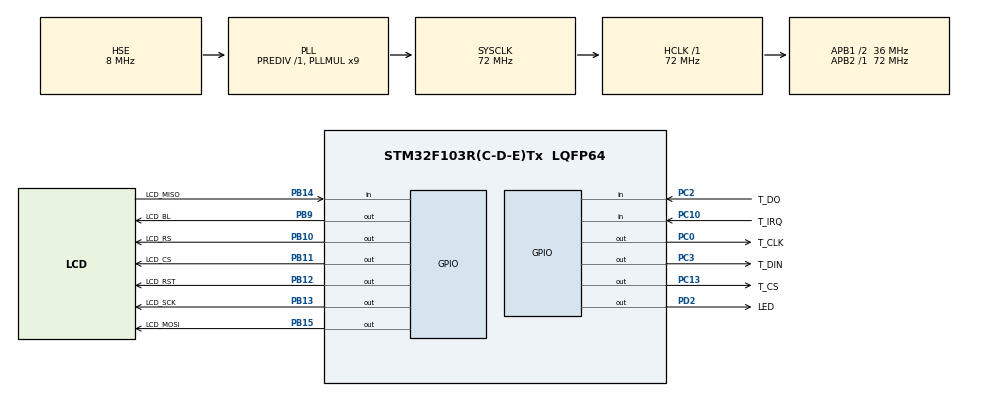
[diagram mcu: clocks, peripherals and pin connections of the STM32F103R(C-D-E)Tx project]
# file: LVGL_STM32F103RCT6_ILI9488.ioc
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Mcu.Family=STM32F1
Mcu.Name=STM32F103R(C-D-E)Tx
Mcu.Package=LQFP64
NVIC.PriorityGroup=NVIC_PRIORITYGROUP_4
PA13.Mode=Serial_Wire
PA13.Signal=SYS_JTMS-SWDIO
PA14.Mode=Serial_Wire
PA14.Signal=SYS_JTCK-SWCLK
PB10.GPIO_Label=LCD_RS
PB10.Signal=GPIO_Output
PB11.GPIO_Label=LCD_CS
PB11.GPIO_Speed=GPIO_SPEED_FREQ_HIGH
PB11.PinState=GPIO_PIN_SET
PB11.Signal=GPIO_Output
PB12.GPIO_Label=LCD_RST
PB12.GPIO_Speed=GPIO_SPEED_FREQ_HIGH
PB12.PinState=GPIO_PIN_SET
PB12.Signal=GPIO_Output
PB13.GPIO_Label=LCD_SCK
PB13.GPIO_Speed=GPIO_SPEED_FREQ_HIGH
PB13.Signal=GPIO_Output
PB14.GPIO_Label=LCD_MISO
PB14.GPIO_PuPd=GPIO_PULLUP
PB14.Signal=GPIO_Input
PB15.GPIO_Label=LCD_MOSI
PB15.GPIO_Speed=GPIO_SPEED_FREQ_HIGH
PB15.Signal=GPIO_Output
PB9.GPIO_Label=LCD_BL
PB9.PinState=GPIO_PIN_SET
PB9.Signal=GPIO_Output
PC0.GPIO_Label=T_CLK
PC0.Signal=GPIO_Output
PC10.GPIO_Label=T_IRQ
PC10.GPIO_PuPd=GPIO_PULLUP
PC10.Signal=GPIO_Input
PC13-TAMPER-RTC.GPIO_Label=T_CS
PC13-TAMPER-RTC.Signal=GPIO_Output
PC2.GPIO_Label=T_DO
PC2.GPIO_Mode=GPIO_MODE_INPUT
PC2.GPIO_PuPd=GPIO_PULLUP
PC2.Signal=GPIO_Input
PC3.GPIO_Label=T_DIN
PC3.GPIO_ModeDefaultOutputPP=GPIO_MODE_OUTPUT_PP
PC3.GPIO_PuPd=GPIO_NOPULL
PC3.GPIO_Speed=GPIO_SPEED_FREQ_HIGH
PC3.PinState=GPIO_PIN_SET
PC3.Signal=GPIO_Output
PD0-OSC_IN.Mode=HSE-External-Oscillator
PD0-OSC_IN.Signal=RCC_OSC_IN
PD1-OSC_OUT.Mode=HSE-External-Oscillator
PD1-OSC_OUT.Signal=RCC_OSC_OUT
PD2.GPIO_Label=LED
PD2.PinState=GPIO_PIN_SET
PD2.Signal=GPIO_Output
ProjectManager.HeapSize=0x200
ProjectManager.StackSize=0x400
ProjectManager.TargetToolchain=MDK-ARM V5
RCC.AHBFreq_Value=72000000
RCC.APB1CLKDivider=RCC_HCLK_DIV2
RCC.APB1Freq_Value=36000000
RCC.APB1TimFreq_Value=72000000
RCC.APB2Freq_Value=72000000
RCC.APB2TimFreq_Value=72000000
RCC.HCLKFreq_Value=72000000
RCC.PLLMUL=RCC_PLL_MUL9
RCC.PLLSourceVirtual=RCC_PLLSOURCE_HSE
RCC.SYSCLKFreq_VALUE=72000000
RCC.SYSCLKSource=RCC_SYSCLKSOURCE_PLLCLK
RCC.USBFreq_Value=72000000
VP_TIM3_VS_ClockSourceINT.Mode=Internal
board=custom

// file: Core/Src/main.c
/* USER CODE BEGIN Header */
/**
  ******************************************************************************
  * @file           : main.c
  * @brief          : Main program body
  ******************************************************************************
  * @attention
  *
  * Copyright (c) 2024 STMicroelectronics.
  * All rights reserved.
  *
  * This software is licensed under terms that can be found in the LICENSE file
  * in the root directory of this software component.
  * If no LICENSE file comes with this software, it is provided AS-IS.
  *
  ******************************************************************************
  */
/* USER CODE END Header */
#include "main.h"
#include "tim.h"
#include "gpio.h"

/* USER CODE BEGIN Includes */
#include "lcd.h"
//#include "test.h"
#include "delay.h"
#include "btim.h"
#include "lvgl.h"
#include "lv_port_disp_template.h"
#include "lv_port_indev_template.h"
#include "lv_demo_stress.h"
#include "lv_demo_music.h"
#include "lv_demo_widgets.h"
#include "malloc.h"
/* USER CODE END Includes */

void SystemClock_Config(void);

int main(void)
{

  /* MCU Configuration--------------------------------------------------------*/

  /* Reset of all peripherals, Initializes the Flash interface and the Systick. */
  HAL_Init();

  /* Configure the system clock */
  SystemClock_Config();

  /* Initialize all configured peripherals */
  MX_GPIO_Init();
  MX_TIM3_Init();
  /* USER CODE BEGIN 2 */
  delay_init(72);
	//led_init();                         /* 初始化LED */
 //   key_init();                         /* 初始化按键 */
    my_mem_init(SRAMIN);                /* 初始化内部SRAM内存池 */
    btim_timx_int_init(10-1,7200-1);    /* 初始化定时器 */
    lv_init();                          /* lvgl系统初始化 */
    lv_port_disp_init();                /* lvgl显示接口初始化,放在lv_init()的后面 */
    lv_port_indev_init();               /* lvgl输入接口初始化,放在lv_init()的后面 */
    lv_demo_stress();
    //lv_demo_music();
	 //lv_demo_widgets();
  /* USER CODE END 2 */

  /* Infinite loop */
  while (1)
  {

    /* USER CODE BEGIN 3 */

	  lv_task_handler();

  }
  /* USER CODE END 3 */
}

void SystemClock_Config(void)
{
  RCC_OscInitTypeDef RCC_OscInitStruct = {0};
  RCC_ClkInitTypeDef RCC_ClkInitStruct = {0};

  /** Initializes the RCC Oscillators according to the specified parameters
  * in the RCC_OscInitTypeDef structure.
  */
  RCC_OscInitStruct.OscillatorType = RCC_OSCILLATORTYPE_HSE;
  RCC_OscInitStruct.HSEState = RCC_HSE_ON;
  RCC_OscInitStruct.HSEPredivValue = RCC_HSE_PREDIV_DIV1;
  RCC_OscInitStruct.HSIState = RCC_HSI_ON;
  RCC_OscInitStruct.PLL.PLLState = RCC_PLL_ON;
  RCC_OscInitStruct.PLL.PLLSource = RCC_PLLSOURCE_HSE;
  RCC_OscInitStruct.PLL.PLLMUL = RCC_PLL_MUL9;
  if (HAL_RCC_OscConfig(&RCC_OscInitStruct) != HAL_OK)
  {
    Error_Handler();
  }

  /** Initializes the CPU, AHB and APB buses clocks
  */
  RCC_ClkInitStruct.ClockType = RCC_CLOCKTYPE_HCLK|RCC_CLOCKTYPE_SYSCLK
                              |RCC_CLOCKTYPE_PCLK1|RCC_CLOCKTYPE_PCLK2;
  RCC_ClkInitStruct.SYSCLKSource = RCC_SYSCLKSOURCE_PLLCLK;
  RCC_ClkInitStruct.AHBCLKDivider = RCC_SYSCLK_DIV1;
  RCC_ClkInitStruct.APB1CLKDivider = RCC_HCLK_DIV2;
  RCC_ClkInitStruct.APB2CLKDivider = RCC_HCLK_DIV1;

  if (HAL_RCC_ClockConfig(&RCC_ClkInitStruct, FLASH_LATENCY_2) != HAL_OK)
  {
    Error_Handler();
  }
}

void Error_Handler(void)
{
  __disable_irq();
  while (1)
  {
  }
}
